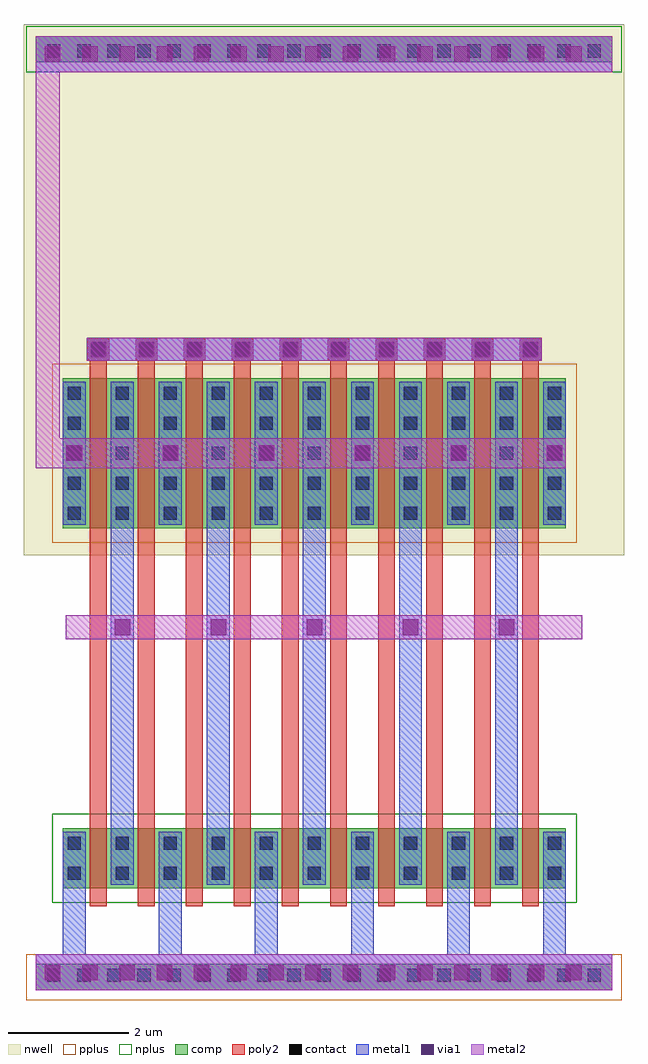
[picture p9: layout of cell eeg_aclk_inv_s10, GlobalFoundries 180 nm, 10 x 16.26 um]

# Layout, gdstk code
import gdstk
lib = gdstk.Library(unit=1e-6, precision=1e-09)
def R(c, l, rs):  # rectangles x0, y0, x1, y1
    for r in rs: c.add(gdstk.rectangle(r[:2], r[2:], *l))
def A(c, l, x, y, w, h, nx, ny, dx, dy):  # array of equal rectangles
    R(c, l, [(x+i*dx, y+j*dy, x+i*dx+w, y+j*dy+h) for i in range(nx) for j in range(ny)])
nwell = (21, 0)
comp = (22, 0)
poly2 = (30, 0)
pplus = (31, 0)
nplus = (32, 0)
contact = (33, 0)
metal1 = (34, 0)
via1 = (35, 0)
metal2 = (36, 0)

eeg_aclk_inv_s10 = lib.new_cell('eeg_aclk_inv_s10')
R(eeg_aclk_inv_s10, nwell, [(-0.2,7.25,9.8,16.1)])
R(eeg_aclk_inv_s10, comp, [(0,0,9.6,0.44), (0.45,1.7,8.83,2.7), (0.45,7.7,8.83,10.2), (0,15.46,9.6,15.9)])
A(eeg_aclk_inv_s10, poly2, 0.9, 1.4, 0.28, 6.3, 10, 1, 0.8, 0)
A(eeg_aclk_inv_s10, poly2, 0.9, 7.4, 0.28, 3.46, 10, 1, 0.8, 0)
A(eeg_aclk_inv_s10, poly2, 0.86, 10.5, 0.36, 0.36, 10, 1, 0.8, 0)
R(eeg_aclk_inv_s10, pplus, [(-0.16,-0.16,9.76,0.6), (0.27,7.46,9.01,10.44)])
R(eeg_aclk_inv_s10, nplus, [(0.27,1.46,9.01,2.94), (-0.16,15.3,9.76,16.06)])
A(eeg_aclk_inv_s10, contact, 0.19, 0.14, 0.22, 0.22, 19, 2, 0.5, 15.4)
A(eeg_aclk_inv_s10, contact, 0.53, 1.84, 0.22, 0.22, 11, 2, 0.8, 0.5)
A(eeg_aclk_inv_s10, contact, 0.53, 7.84, 0.22, 0.22, 11, 5, 0.8, 0.5)
A(eeg_aclk_inv_s10, contact, 0.93, 10.57, 0.22, 0.22, 10, 1, 0.8, 0)
A(eeg_aclk_inv_s10, metal1, 0.45, 0.3, 0.38, 2.34, 6, 1, 1.6, 0)
A(eeg_aclk_inv_s10, metal1, 1.25, 1.76, 0.38, 4.49, 5, 1, 1.6, 0)
A(eeg_aclk_inv_s10, metal1, 1.25, 5.85, 0.38, 4.29, 5, 1, 1.6, 0)
A(eeg_aclk_inv_s10, metal1, 0.45, 7.76, 0.38, 2.38, 6, 1, 1.6, 0)
R(eeg_aclk_inv_s10, metal1, [(0,0,9.6,0.6), (0,0,9.6,0.44), (0.85,10.49,8.43,10.87), (0,15.3,9.6,15.9), (0,15.46,9.6,15.9)])
A(eeg_aclk_inv_s10, via1, 0.15, 0.17, 0.26, 0.26, 15, 2, 0.62, 15.3)
A(eeg_aclk_inv_s10, via1, 0.51, 8.82, 0.26, 0.26, 6, 1, 1.6, 0)
A(eeg_aclk_inv_s10, via1, 0.91, 10.55, 0.26, 0.26, 10, 1, 0.8, 0)
R(eeg_aclk_inv_s10, via1, [(1.31,5.92,1.57,6.18), (1.31,5.92,1.57,6.18), (2.91,5.92,3.17,6.18), (2.91,5.92,3.17,6.18), (4.51,5.92,4.77,6.18), (4.51,5.92,4.77,6.18), (6.11,5.92,6.37,6.18), (6.11,5.92,6.37,6.18), (7.71,5.92,7.97,6.18), (7.71,5.92,7.97,6.18)])
R(eeg_aclk_inv_s10, metal2, [(0,0,9.6,0.6), (0.5,5.85,9.1,6.25), (0,8.7,8.83,9.2), (0,8.7,0.4,15.3), (0.85,10.49,8.43,10.87), (0,15.3,9.6,15.9)])

lib.write_gds('eeg_aclk_inv_s10.gds')
